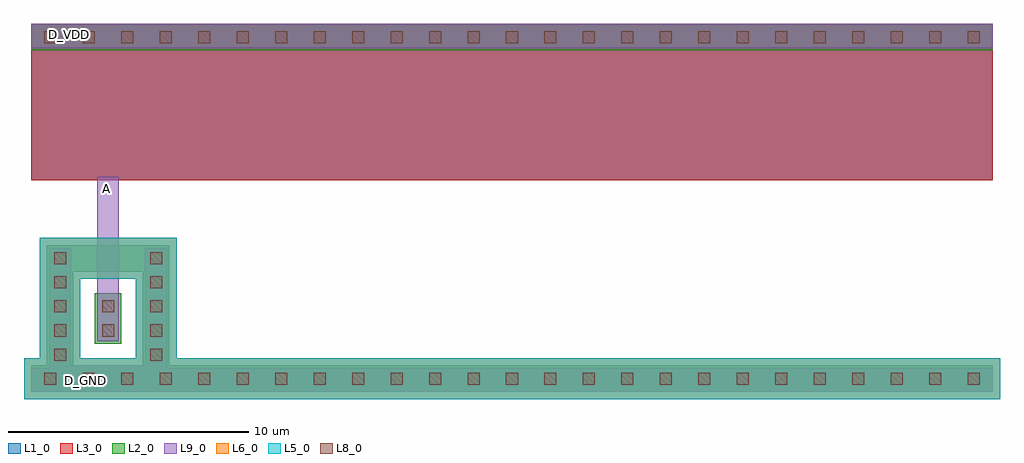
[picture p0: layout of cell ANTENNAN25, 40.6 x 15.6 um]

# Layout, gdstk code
import gdstk
lib = gdstk.Library(unit=1e-6, precision=1e-09)
def R(c, l, rs):  # rectangles x0, y0, x1, y1
    for r in rs: c.add(gdstk.rectangle(r[:2], r[2:], *l))
def A(c, l, x, y, w, h, nx, ny, dx, dy):  # array of equal rectangles
    R(c, l, [(x+i*dx, y+j*dy, x+i*dx+w, y+j*dy+h) for i in range(nx) for j in range(ny)])
def P(c, l, *ps):  # polygons
    for p in ps: c.add(gdstk.Polygon(p, *l))
L1_0 = (1, 0)
L2_0 = (2, 0)
L3_0 = (3, 0)
L5_0 = (5, 0)
L6_0 = (6, 0)
L8_0 = (8, 0)
L9_0 = (9, 0)

antennan25 = lib.new_cell('ANTENNAN25')
A(antennan25, L1_0, 0, 8.8, 1.6, 6.5, 25, 1, 1.6, 0)
A(antennan25, L2_0, 0, 0, 1.6, 1.1, 25, 2, 1.6, 14.2)
R(antennan25, L2_0, [(2.65,2,3.75,3.1), (2.65,3,3.75,4.1)])
P(antennan25, L2_0, [(5.75,0),(5.75,5),(4.65,5),(4.65,1.1),(1.75,1.1),(1.75,5),(5.75,5),(5.75,6.1),(0.65,6.1),(0.65,0)])
A(antennan25, L3_0, 0, 8.8, 1.6, 6.5, 25, 1, 1.6, 0)
A(antennan25, L5_0, 1.6, -0.3, 1.6, 1.7, 23, 1, 1.6, 0)
R(antennan25, L5_0, [(-0.3,-0.3,1.6,1.4), (38.4,-0.3,40.3,1.4)])
P(antennan25, L5_0, [(6.05,-0.3),(6.05,4.7),(4.35,4.7),(4.35,1.4),(2.05,1.4),(2.05,4.7),(6.05,4.7),(6.05,6.4),(0.35,6.4),(0.35,-0.3)])
A(antennan25, L6_0, 1.6, -0.3, 1.6, 1.7, 23, 1, 1.6, 0)
R(antennan25, L6_0, [(-0.3,-0.3,1.6,1.4), (38.4,-0.3,40.3,1.4)])
P(antennan25, L6_0, [(6.05,-0.3),(6.05,4.7),(4.35,4.7),(4.35,1.4),(2.05,1.4),(2.05,4.7),(6.05,4.7),(6.05,6.4),(0.35,6.4),(0.35,-0.3)])
A(antennan25, L8_0, 0.55, 0.3, 0.5, 0.5, 25, 2, 1.6, 14.2)
A(antennan25, L8_0, 0.95, 2.3, 0.5, 0.5, 3, 2, 2, 1)
R(antennan25, L8_0, [(0.95,1.3,1.45,1.8), (4.95,1.3,5.45,1.8), (0.95,4.3,1.45,4.8), (4.95,4.3,5.45,4.8), (0.95,5.3,1.45,5.8), (4.95,5.3,5.45,5.8)])
A(antennan25, L9_0, 0, 0, 1.6, 1, 25, 2, 1.6, 14.3)
R(antennan25, L9_0, [(1.8,0,2.7,0.9), (1.8,0,2.7,0.9), (1.8,0,2.7,0.9), (0.75,1,5.65,1.1), (0.75,1.1,1.65,6), (4.75,1.1,5.65,6), (2.75,2.1,3.65,3), (2.75,3,3.65,3.1), (2.75,3.1,3.65,4), (2.75,3.1,3.65,8.95), (2.75,8.05,3.65,8.95), (2.75,8.05,3.65,8.95), (2.75,8.05,3.65,8.95), (1.15,14.35,2.05,15.25), (1.15,14.4,2.05,15.3), (1.15,14.4,2.05,15.3)])
antennan25.add(gdstk.Label('D_GND', (2.25,0.45), layer=50, texttype=0))
antennan25.add(gdstk.Label('D_VDD', (1.6,14.85), layer=50, texttype=0))
antennan25.add(gdstk.Label('A', (3.15,8.45), layer=50, texttype=0))

lib.write_gds('ANTENNAN25.gds')
